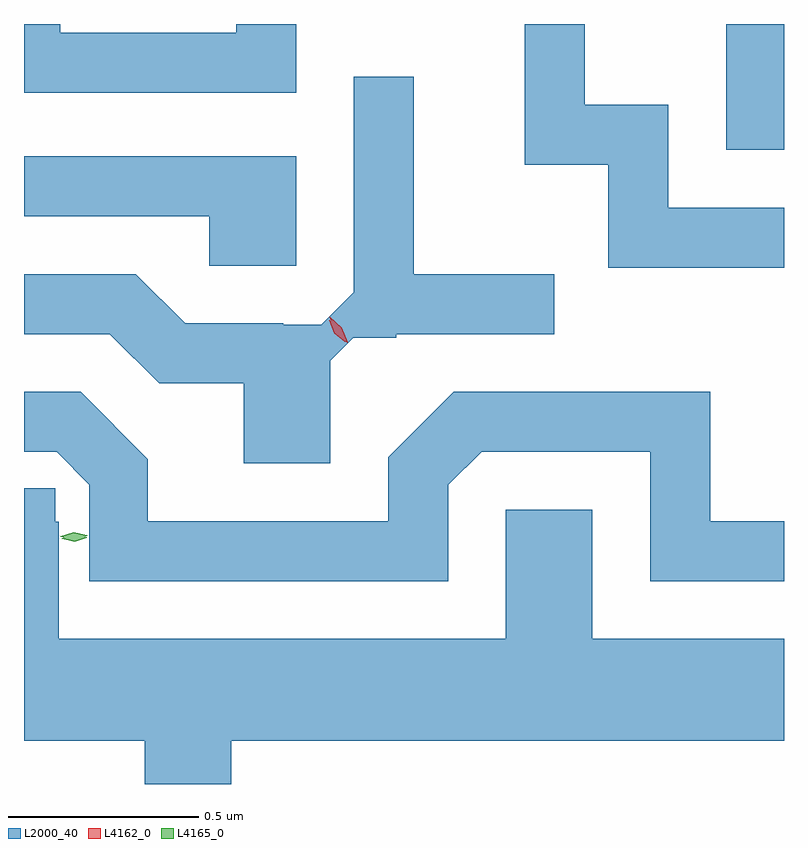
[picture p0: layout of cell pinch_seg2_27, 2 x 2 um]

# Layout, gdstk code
import gdstk
lib = gdstk.Library(unit=1e-6, precision=1e-09)
def R(c, l, rs):  # rectangles x0, y0, x1, y1
    for r in rs: c.add(gdstk.rectangle(r[:2], r[2:], *l))
def P(c, l, *ps):  # polygons
    for p in ps: c.add(gdstk.Polygon(p, *l))
L2000_40 = (2000, 40)
L4162_0 = (4162, 0)
L4165_0 = (4165, 0)

pinch_seg2_27 = lib.new_cell('pinch_seg2_27')
R(pinch_seg2_27, L2000_40, [(1688.991,1058.751,1689.143,1059.082)])
P(pinch_seg2_27, L2000_40, [(1687.859,1059.082),(1687.701,1059.082),(1687.701,1059.059),(1687.239,1059.059),(1687.239,1059.082),(1687.143,1059.082),(1687.143,1058.901),(1687.859,1058.901)],
  [(1689.143,1058.599),(1688.839,1058.599),(1688.839,1058.869),(1688.619,1058.869),(1688.619,1059.082),(1688.461,1059.082),(1688.461,1058.711),(1688.681,1058.711),(1688.681,1058.441),(1689.143,1058.441)],
  [(1687.949,1058.196),(1688.01,1058.257),(1688.123,1058.257),(1688.123,1058.266),(1688.538,1058.266),(1688.538,1058.424),(1688.169,1058.424),(1688.169,1058.943),(1688.011,1058.943),(1688.011,1058.376),(1687.925,1058.29),(1687.825,1058.29),(1687.825,1058.294),(1687.567,1058.294),(1687.437,1058.424),(1687.143,1058.424),(1687.143,1058.266),(1687.369,1058.266),(1687.499,1058.136),(1687.721,1058.136),(1687.721,1057.926),(1687.949,1057.926)],
  [(1687.859,1058.734),(1687.143,1058.734),(1687.143,1058.576),(1687.631,1058.576),(1687.631,1058.446),(1687.859,1058.446)],
  [(1688.259,1057.869),(1688.347,1057.956),(1688.791,1057.956),(1688.791,1057.616),(1689.143,1057.616),(1689.143,1057.774),(1688.949,1057.774),(1688.949,1058.114),(1688.274,1058.114),(1688.101,1057.942),(1688.101,1057.774),(1687.469,1057.774),(1687.469,1057.937),(1687.292,1058.114),(1687.143,1058.114),(1687.143,1057.957),(1687.229,1057.957),(1687.315,1057.87),(1687.315,1057.616),(1688.259,1057.616)],
  [(1687.689,1057.196),(1689.143,1057.196),(1689.143,1057.464),(1688.639,1057.464),(1688.639,1057.804),(1688.411,1057.804),(1688.411,1057.464),(1687.235,1057.464),(1687.235,1057.772),(1687.225,1057.772),(1687.225,1057.86),(1687.143,1057.86),(1687.143,1057.196),(1687.461,1057.196),(1687.461,1057.082),(1687.689,1057.082)])
P(pinch_seg2_27, L4162_0, [(1687.987,1058.246),(1687.959,1058.268),(1687.946,1058.302),(1687.946,1058.303),(1687.947,1058.303),(1687.975,1058.28),(1687.988,1058.247),(1687.988,1058.246)],
  [(1687.994,1058.243),(1687.994,1058.243),(1687.963,1058.271),(1687.947,1058.31),(1687.947,1058.311),(1687.948,1058.311),(1687.979,1058.283),(1687.995,1058.244)])
P(pinch_seg2_27, L4165_0, [(1687.275,1057.725),(1687.24,1057.733),(1687.239,1057.734),(1687.24,1057.734),(1687.274,1057.745),(1687.31,1057.736),(1687.31,1057.736),(1687.31,1057.735)],
  [(1687.276,1057.719),(1687.243,1057.728),(1687.242,1057.728),(1687.243,1057.729),(1687.275,1057.74),(1687.308,1057.731),(1687.308,1057.731),(1687.308,1057.73)])

lib.write_gds('pinch_seg2_27.gds')
